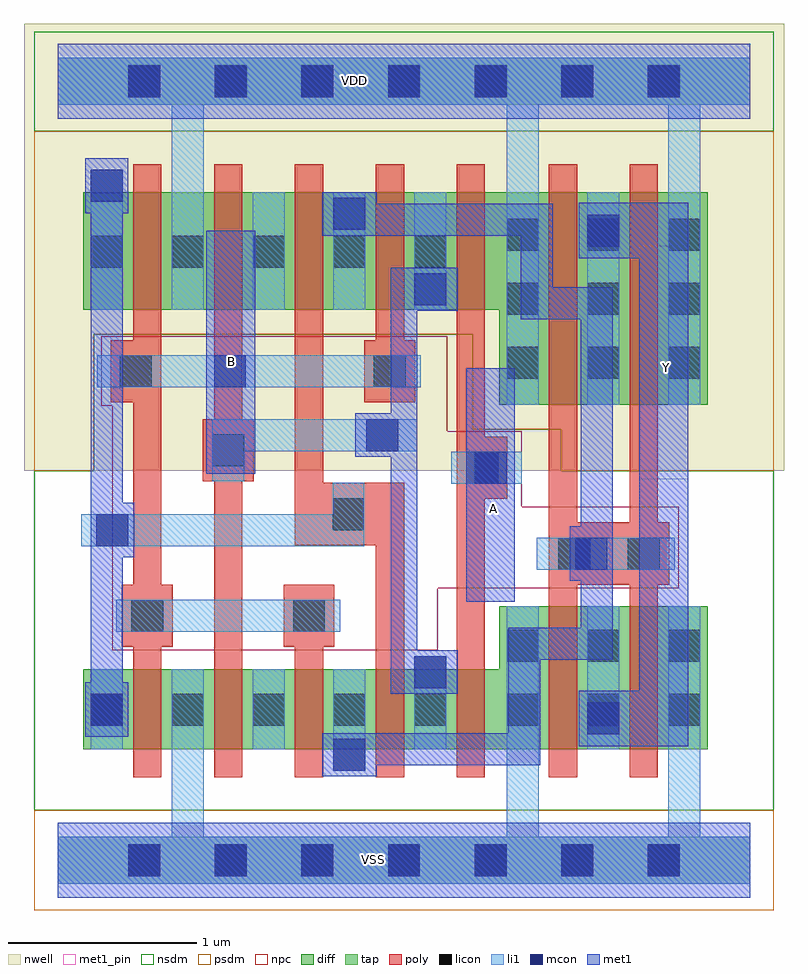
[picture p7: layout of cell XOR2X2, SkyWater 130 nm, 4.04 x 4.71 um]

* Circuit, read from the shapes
.subckt XOR2X2 A B VDD VSS Y
XM1 VSS B n1 VSS sky130_fd_pr__nfet_01v8 w=0.425 l=0.15
XM2 n2 n3 VSS VSS sky130_fd_pr__nfet_01v8 w=0.425 l=0.15
XM3 n4 B n2 VSS sky130_fd_pr__nfet_01v8 w=0.425 l=0.15
XM4 n3 n1 n4 VSS sky130_fd_pr__nfet_01v8 w=0.425 l=0.15
XM5 VSS A n3 VSS sky130_fd_pr__nfet_01v8 w=0.425 l=0.15
XM6 Y n4 VSS VSS sky130_fd_pr__nfet_01v8 w=0.76 l=0.15 m=2
XM7 VDD B n1 VDD sky130_fd_pr__pfet_01v8 w=0.625 l=0.15
XM8 n5 n3 VDD VDD sky130_fd_pr__pfet_01v8 w=0.625 l=0.15
XM9 n4 n1 n5 VDD sky130_fd_pr__pfet_01v8 w=0.625 l=0.15
XM10 n3 B n4 VDD sky130_fd_pr__pfet_01v8 w=0.625 l=0.15
XM11 VDD A n3 VDD sky130_fd_pr__pfet_01v8 w=0.625 l=0.15
XM12 Y n4 VDD VDD sky130_fd_pr__pfet_01v8 w=1.13 l=0.15 m=2
.ends

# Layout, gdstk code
from math import pi, radians
import gdstk
lib = gdstk.Library(unit=1e-6, precision=1e-09)
def R(c, l, rs):  # rectangles x0, y0, x1, y1
    for r in rs: c.add(gdstk.rectangle(r[:2], r[2:], *l))
def A(c, l, x, y, w, h, nx, ny, dx, dy):  # array of equal rectangles
    R(c, l, [(x+i*dx, y+j*dy, x+i*dx+w, y+j*dy+h) for i in range(nx) for j in range(ny)])
def P(c, l, *ps):  # polygons
    for p in ps: c.add(gdstk.Polygon(p, *l))
nwell = (64, 20)
diff = (65, 20)
tap = (65, 44)
poly = (66, 20)
licon = (66, 44)
li1 = (67, 20)
mcon = (67, 44)
met1_pin = (68, 16)
met1 = (68, 20)
nsdm = (93, 44)
psdm = (94, 20)
npc = (95, 20)

l1m1_c_cdns_750710154091 = lib.new_cell('L1M1_C_CDNS_7507101540917')
R(l1m1_c_cdns_750710154091, li1, [(-0.085,-0.165,0.085,0.085)])
R(l1m1_c_cdns_750710154091, mcon, [(-0.085,-0.085,0.085,0.085)])
R(l1m1_c_cdns_750710154091, met1, [(-0.145,-0.115,0.145,0.115)])

pyl1con_c_cdns_750710154 = lib.new_cell('PYL1CON_C_CDNS_750710154092')
R(pyl1con_c_cdns_750710154, poly, [(-0.135,-0.165,0.135,0.165)])
R(pyl1con_c_cdns_750710154, licon, [(-0.085,-0.085,0.085,0.085)])
R(pyl1con_c_cdns_750710154, npc, [(-0.185,-0.185,0.185,0.185)])

l1m1_c_cdns_750710154090 = lib.new_cell('L1M1_C_CDNS_750710154090')
R(l1m1_c_cdns_750710154090, li1, [(-0.165,-0.085,0.165,0.085)])
R(l1m1_c_cdns_750710154090, mcon, [(-0.085,-0.085,0.085,0.085)])
R(l1m1_c_cdns_750710154090, met1, [(-0.115,-0.145,0.115,0.145)])

c_l1m1_c_cdns_750710154091 = lib.new_cell('L1M1_C_CDNS_750710154091')
R(c_l1m1_c_cdns_750710154091, li1, [(-0.085,-0.165,0.085,0.165)])
R(c_l1m1_c_cdns_750710154091, mcon, [(-0.085,-0.085,0.085,0.085)])
R(c_l1m1_c_cdns_750710154091, met1, [(-0.115,-0.145,0.115,0.145)])

c_l1m1_c_cdns_750710154091_ = lib.new_cell('L1M1_C_CDNS_7507101540915')
R(c_l1m1_c_cdns_750710154091_, li1, [(-0.085,-0.085,0.085,0.085)])
R(c_l1m1_c_cdns_750710154091_, mcon, [(-0.085,-0.085,0.085,0.085)])
R(c_l1m1_c_cdns_750710154091_, met1, [(-0.145,-0.115,0.145,0.115)])

licondiff_c_cdns_7507101 = lib.new_cell('LICONDIFF_C_CDNS_7507101540911')
R(licondiff_c_cdns_7507101, diff, [(-0.125,-0.145,0.125,0.145)])
R(licondiff_c_cdns_7507101, licon, [(-0.085,-0.085,0.085,0.085), (-0.085,-0.085,0.085,0.085)])

c_l1m1_c_cdns_750710154091__ = lib.new_cell('L1M1_C_CDNS_7507101540910')
R(c_l1m1_c_cdns_750710154091__, li1, [(-0.085,-0.165,0.085,0.085)])
R(c_l1m1_c_cdns_750710154091__, mcon, [(-0.085,-0.085,0.085,0.085)])
R(c_l1m1_c_cdns_750710154091__, met1, [(-0.115,-0.145,0.115,0.145)])

xor2x2 = lib.new_cell('XOR2X2')
A(xor2x2, nwell, 0.595, 2.745, 0.79, 0.985, 3, 1, 0.43, 0)
R(xor2x2, nwell, [(-0.18,2.07,3.86,4.305), (2.165,2.24,3.635,3.73), (-0.045,2.745,0.955,3.73), (1.885,2.745,2.525,3.73), (-0.18,3.875,3.86,4.445)])
A(xor2x2, diff, 0.4, 0.59, 0.15, 0.425, 5, 1, 0.43, 0)
A(xor2x2, diff, 0.55, 0.59, 0.225, 0.425, 4, 1, 0.43, 0)
A(xor2x2, diff, 0.775, 0.59, 0.055, 0.425, 4, 1, 0.43, 0)
A(xor2x2, diff, 0.4, 2.925, 0.15, 0.625, 5, 1, 0.43, 0)
A(xor2x2, diff, 0.55, 2.925, 0.225, 0.625, 4, 1, 0.43, 0)
A(xor2x2, diff, 0.775, 2.925, 0.055, 0.625, 4, 1, 0.43, 0)
R(xor2x2, diff, [(0.135,0.59,0.4,1.015), (2.27,0.59,2.345,1.015), (2.345,0.59,2.61,1.35), (2.61,0.59,2.76,1.35), (2.76,0.59,3.04,1.35), (3.04,0.59,3.19,1.35), (3.19,0.59,3.455,1.35), (2.345,2.42,2.61,3.55), (2.61,2.42,2.76,3.55), (2.76,2.42,3.04,3.55), (3.04,2.42,3.19,3.55), (3.19,2.42,3.455,3.55), (0.135,2.925,0.4,3.55), (2.27,2.925,2.345,3.55)])
A(xor2x2, poly, 0.4, 0.44, 0.15, 0.055, 5, 2, 0.43, 0.67)
A(xor2x2, poly, 0.4, 0.495, 0.15, 0.095, 5, 2, 0.43, 0.52)
A(xor2x2, poly, 0.4, 0.59, 0.15, 0.425, 5, 1, 0.43, 0)
A(xor2x2, poly, 0.4, 2.775, 0.15, 0.055, 5, 2, 0.43, 0.87)
A(xor2x2, poly, 0.4, 2.83, 0.15, 0.095, 5, 2, 0.43, 0.72)
A(xor2x2, poly, 0.4, 2.925, 0.15, 0.625, 5, 1, 0.43, 0)
R(xor2x2, poly, [(2.61,0.44,2.76,0.495), (3.04,0.44,3.19,0.495), (2.61,0.495,2.76,0.59), (3.04,0.495,3.19,0.59), (2.61,0.59,2.76,1.35), (3.04,0.59,3.19,1.35), (2.61,1.35,2.76,1.445), (3.04,1.35,3.19,1.445), (2.61,1.445,2.76,1.5), (3.04,1.445,3.19,1.5), (2.61,2.27,2.76,2.325), (3.04,2.27,3.19,2.325), (2.61,2.325,2.76,2.42), (3.04,2.325,3.19,2.42), (2.61,2.42,2.76,3.55), (3.04,2.42,3.19,3.55), (2.61,3.55,2.76,3.645), (3.04,3.55,3.19,3.645), (2.61,3.645,2.76,3.7), (3.04,3.645,3.19,3.7)])
A(xor2x2, licon, 0.375, -0.085, 0.17, 0.17, 7, 2, 0.46, 4.14)
A(xor2x2, licon, 2.385, 0.715, 0.17, 0.17, 3, 2, 0.43, 0.34)
A(xor2x2, licon, 2.385, 2.56, 0.17, 0.17, 3, 3, 0.43, 0.34)
R(xor2x2, licon, [(0.175,0.715,0.345,0.885), (0.605,0.715,0.775,0.885), (1.465,0.715,1.635,0.885), (1.895,0.715,2.065,0.885), (0.175,3.15,0.345,3.32), (0.605,3.15,0.775,3.32), (1.465,3.15,1.635,3.32), (1.895,3.15,2.065,3.32)])
A(xor2x2, li1, 2.385, 0.59, 0.17, 0.76, 3, 1, 0.43, 0)
A(xor2x2, li1, 2.385, 2.42, 0.17, 1.13, 3, 1, 0.43, 0)
R(xor2x2, li1, [(0.175,0.59,0.345,1.015), (0.605,0.59,0.775,1.015), (1.465,0.59,1.635,1.015), (1.895,0.59,2.065,1.015), (0.175,2.925,0.345,3.55), (0.605,2.925,0.775,3.55), (1.465,2.925,1.635,3.55), (1.895,2.925,2.065,3.55)])
A(xor2x2, mcon, 0.375, -0.085, 0.17, 0.17, 7, 2, 0.46, 4.14)
R(xor2x2, met1_pin, [(2.17,1.375,2.43,2.615), (3.09,2.025,3.35,3.265), (0.79,2.055,1.05,3.345)])
R(xor2x2, met1, [(2.77,0.605,3.35,0.9), (2.77,3.2,3.35,3.495), (2.795,3.395,2.81,3.41)])
A(xor2x2, nsdm, 0.765, 0.46, 0.45, 0.685, 3, 1, 0.43, 0)
R(xor2x2, nsdm, [(-0.005,0.46,0.785,1.145), (2.055,0.46,2.225,1.145), (2.205,0.46,3.595,1.48), (-0.125,3.875,3.805,4.405), (-0.125,3.93,3.805,4.35)])
P(xor2x2, nsdm, [(3.805,2.07),(2.675,2.07),(2.675,2.29),(2.205,2.29),(2.205,2.795),(0.19,2.795),(0.19,2.07),(-0.125,2.07),(-0.125,0.265),(3.805,0.265)])
A(xor2x2, psdm, 0.765, 2.795, 0.45, 0.885, 3, 1, 0.43, 0)
R(xor2x2, psdm, [(-0.125,-0.265,3.805,0.265), (-0.125,-0.21,3.805,0.21), (2.205,2.29,3.595,3.68), (-0.005,2.795,0.785,3.68), (2.055,2.795,2.225,3.68)])
P(xor2x2, psdm, [(3.805,3.875),(-0.125,3.875),(-0.125,2.07),(0.19,2.07),(0.19,2.795),(2.205,2.795),(2.205,2.29),(2.675,2.29),(2.675,2.07),(3.805,2.07)])
P(xor2x2, npc, [(3.3,1.88),(2.465,1.88),(2.465,2.28),(2.07,2.28),(2.07,2.785),(0.29,2.785),(0.29,1.115),(2.02,1.115),(2.02,1.445),(3.3,1.445)])
xor2x2.add(gdstk.FlexPath([(2.685,1.63),(3.115,1.63)], 0.33, ends="flush", simple_path=True, layer=66, datatype=20))  # poly
xor2x2.add(gdstk.FlexPath([(3.115,2.27),(3.115,1.44)], 0.15, ends="flush", simple_path=True, layer=66, datatype=20))  # poly
xor2x2.add(gdstk.FlexPath([(2.685,2.27),(2.685,1.44)], 0.15, ends="flush", simple_path=True, layer=66, datatype=20))  # poly
xor2x2.add(gdstk.FlexPath([(0.905,2.775),(0.905,1.165)], 0.15, ends="flush", simple_path=True, layer=66, datatype=20))  # poly
xor2x2.add(gdstk.FlexPath([(1.765,2.775),(1.765,2.6)], 0.15, ends="flush", simple_path=True, layer=66, datatype=20))  # poly
xor2x2.add(gdstk.FlexPath([(2.195,2.775),(2.195,1.135)], 0.15, ends="flush", simple_path=True, layer=66, datatype=20))  # poly
xor2x2.add(gdstk.FlexPath([(1.335,2.775),(1.335,2.6)], 0.15, ends="flush", simple_path=True, layer=66, datatype=20))  # poly
xor2x2.add(gdstk.FlexPath([(1.765,1.165),(1.765,1.34)], 0.15, ends="flush", simple_path=True, layer=66, datatype=20))  # poly
xor2x2.add(gdstk.FlexPath([(0.475,2.775),(0.475,1.165)], 0.15, ends="flush", simple_path=True, layer=66, datatype=20))  # poly
xor2x2.add(gdstk.FlexPath([(1.395,1.84),(1.69,1.84)], 0.33, ends="flush", simple_path=True, layer=66, datatype=20))  # poly
xor2x2.add(gdstk.FlexPath([(1.335,2.775),(1.335,1.815)], 0.15, ends=(0, 0.14), simple_path=True, layer=66, datatype=20))  # poly
xor2x2.add(gdstk.FlexPath([(1.765,1.865),(1.765,1.165)], 0.15, ends=(0.14, 0), simple_path=True, layer=66, datatype=20))  # poly
xor2x2.add(gdstk.FlexPath([(2.47,0),(3.42,0)], 0.25, ends=(0.085, 0.085), simple_path=True, layer=67, datatype=20))  # li1
xor2x2.add(gdstk.FlexPath([(3.42,0),(3.595,0)], 0.25, ends=(0.085, 0.085), simple_path=True, layer=67, datatype=20))  # li1
xor2x2.add(gdstk.FlexPath([(0.69,0),(2.47,0)], 0.25, ends=(0.085, 0.085), simple_path=True, layer=67, datatype=20))  # li1
xor2x2.add(gdstk.FlexPath([(3.595,0),(3.68,0)], 0.25, ends=(0.085, 0), simple_path=True, layer=67, datatype=20))  # li1
xor2x2.add(gdstk.FlexPath([(2.47,4.14),(3.42,4.14)], 0.25, ends=(0.085, 0.085), simple_path=True, layer=67, datatype=20))  # li1
xor2x2.add(gdstk.FlexPath([(0,4.14),(0.69,4.14)], 0.25, ends=(0, 0.085), simple_path=True, layer=67, datatype=20))  # li1
xor2x2.add(gdstk.FlexPath([(3.42,4.14),(3.595,4.14)], 0.25, ends=(0.085, 0.085), simple_path=True, layer=67, datatype=20))  # li1
xor2x2.add(gdstk.FlexPath([(0.69,4.14),(2.47,4.14)], 0.25, ends=(0.085, 0.085), simple_path=True, layer=67, datatype=20))  # li1
xor2x2.add(gdstk.FlexPath([(1.12,0.59),(1.12,1.015)], 0.17, ends="flush", simple_path=True, layer=67, datatype=20))  # li1
xor2x2.add(gdstk.FlexPath([(1.12,2.925),(1.12,3.55)], 0.17, ends="flush", simple_path=True, layer=67, datatype=20))  # li1
xor2x2.add(gdstk.FlexPath([(2.545,1.63),(3.28,1.63)], 0.17, ends="flush", simple_path=True, layer=67, datatype=20))  # li1
xor2x2.add(gdstk.FlexPath([(0.905,2.015),(0.905,2.26)], 0.17, ends=(0, 0.085), simple_path=True, layer=67, datatype=20))  # li1
xor2x2.add(gdstk.FlexPath([(0.82,2.26),(0.905,2.26)], 0.17, ends=(0, 0.085), simple_path=True, layer=67, datatype=20))  # li1
xor2x2.add(gdstk.FlexPath([(2.465,2.085),(2.09,2.085)], 0.17, ends="flush", simple_path=True, layer=67, datatype=20))  # li1
xor2x2.add(gdstk.FlexPath([(0.31,1.3),(1.5,1.3)], 0.17, ends="flush", simple_path=True, layer=67, datatype=20))  # li1
xor2x2.add(gdstk.FlexPath([(0.21,2.6),(1.93,2.6)], 0.17, ends="flush", simple_path=True, layer=67, datatype=20))  # li1
xor2x2.add(gdstk.FlexPath([(1.545,1.84),(1.545,2.005)], 0.17, ends="flush", simple_path=True, layer=67, datatype=20))  # li1
xor2x2.add(gdstk.FlexPath([(0.25,1.755),(1.63,1.755)], 0.17, ends="flush", simple_path=True, layer=67, datatype=20))  # li1
xor2x2.add(gdstk.FlexPath([(0.905,2.26),(1.91,2.26)], 0.17, ends=(0.085, 0), simple_path=True, layer=67, datatype=20))  # li1
xor2x2.add(gdstk.FlexPath([(0.69,0.59),(0.69,0)], 0.17, ends=(0, 0.085), simple_path=True, layer=67, datatype=20))  # li1
xor2x2.add(gdstk.FlexPath([(0,0),(0.69,0)], 0.25, ends=(0, 0.085), simple_path=True, layer=67, datatype=20))  # li1
xor2x2.add(gdstk.FlexPath([(2.47,3.55),(2.47,4.14)], 0.17, ends=(0, 0.125), simple_path=True, layer=67, datatype=20))  # li1
xor2x2.add(gdstk.FlexPath([(3.33,0),(3.33,0.59)], 0.17, ends=(0.085, 0), simple_path=True, layer=67, datatype=20))  # li1
xor2x2.add(gdstk.FlexPath([(0.69,3.55),(0.69,4.14)], 0.17, ends=(0, 0.085), simple_path=True, layer=67, datatype=20))  # li1
xor2x2.add(gdstk.FlexPath([(3.595,4.14),(3.68,4.14)], 0.25, ends=(0.085, 0), simple_path=True, layer=67, datatype=20))  # li1
xor2x2.add(gdstk.FlexPath([(0.69,0),(3.33,0)], 0.17, ends="extended", simple_path=True, layer=67, datatype=20))  # li1
xor2x2.add(gdstk.FlexPath([(2.47,0.59),(2.47,0)], 0.17, ends="flush", simple_path=True, layer=67, datatype=20))  # li1
xor2x2.add(gdstk.FlexPath([(3.33,4.14),(0.69,4.14)], 0.17, ends="extended", simple_path=True, layer=67, datatype=20))  # li1
xor2x2.add(gdstk.FlexPath([(3.33,3.55),(3.33,4.14)], 0.17, ends=(0, 0.085), simple_path=True, layer=67, datatype=20))  # li1
xor2x2.add(gdstk.FlexPath([(0,0),(3.68,0)], 0.4, ends="flush", simple_path=True, layer=68, datatype=20))  # met1
xor2x2.add(gdstk.FlexPath([(0,4.14),(3.68,4.14)], 0.4, ends="flush", simple_path=True, layer=68, datatype=20))  # met1
xor2x2.add(gdstk.FlexPath([(2.9,0.75),(2.9,0.755)], 0.26, ends=(0.13, 0.145), simple_path=True, layer=68, datatype=20))  # met1
xor2x2.add(gdstk.FlexPath([(3.22,0.75),(2.9,0.75)], 0.26, ends="extended", simple_path=True, layer=68, datatype=20))  # met1
xor2x2.add(gdstk.FlexPath([(3.22,2.035),(3.22,0.75)], 0.26, ends=(0, 0.13), simple_path=True, layer=68, datatype=20))  # met1
xor2x2.add(gdstk.FlexPath([(2.9,3.365),(2.9,3.345)], 0.26, ends=(0.13, 0.145), simple_path=True, layer=68, datatype=20))  # met1
xor2x2.add(gdstk.FlexPath([(3.22,3.365),(2.9,3.365)], 0.26, ends="extended", simple_path=True, layer=68, datatype=20))  # met1
xor2x2.add(gdstk.FlexPath([(3.22,3.265),(3.22,3.365)], 0.26, ends=(0, 0.13), simple_path=True, layer=68, datatype=20))  # met1
xor2x2.add(gdstk.FlexPath([(2.48,1.15),(2.48,0.59)], 0.17, ends="extended", simple_path=True, layer=68, datatype=20))  # met1
xor2x2.add(gdstk.FlexPath([(3.22,2.025),(3.22,3.265)], 0.26, ends="flush", simple_path=True, layer=68, datatype=20))  # met1
xor2x2.add(gdstk.FlexPath([(2.865,2.96),(2.865,1.15)], 0.17, ends="extended", simple_path=True, layer=68, datatype=20))  # met1
xor2x2.add(gdstk.FlexPath([(2.545,2.96),(2.865,2.96)], 0.17, ends="extended", simple_path=True, layer=68, datatype=20))  # met1
xor2x2.add(gdstk.FlexPath([(1.405,3.405),(2.44,3.405)], 0.17, ends=(0, 0.13), simple_path=True, layer=68, datatype=20))  # met1
xor2x2.add(gdstk.FlexPath([(2.48,0.59),(1.405,0.59)], 0.17, ends=(0.085, 0), simple_path=True, layer=68, datatype=20))  # met1
xor2x2.add(gdstk.FlexPath([(2.545,3.405),(2.545,2.96)], 0.17, ends="extended", simple_path=True, layer=68, datatype=20))  # met1
xor2x2.add(gdstk.FlexPath([(2.44,3.405),(2.545,3.405)], 0.17, ends=(0, 0.085), simple_path=True, layer=68, datatype=20))  # met1
xor2x2.add(gdstk.FlexPath([(2.125,3.065),(1.845,3.065)], 0.17, ends=(0, 0.07), simple_path=True, layer=68, datatype=20))  # met1
xor2x2.add(gdstk.FlexPath([(1.84,3.065),(1.84,0.97)], 0.14, ends=(0.085, 0.085), simple_path=True, layer=68, datatype=20))  # met1
xor2x2.add(gdstk.FlexPath([(2.3,1.375),(2.3,2.615)], 0.26, ends="flush", simple_path=True, layer=68, datatype=20))  # met1
xor2x2.add(gdstk.FlexPath([(0.92,2.055),(0.92,3.345)], 0.26, ends="flush", simple_path=True, layer=68, datatype=20))  # met1
xor2x2.add(gdstk.FlexPath([(0.26,0.655),(0.26,3.73)], 0.17, ends="flush", simple_path=True, layer=68, datatype=20))  # met1
xor2x2.add(gdstk.FlexPath([(2.865,1.15),(2.48,1.15)], 0.17, ends="extended", simple_path=True, layer=68, datatype=20))  # met1
xor2x2.add(gdstk.FlexPath([(0,4.14),(3.68,4.14)], 0.4, ends="flush", simple_path=True, layer=68, datatype=16))  # met1_pin
xor2x2.add(gdstk.FlexPath([(0,0),(3.68,0)], 0.4, ends="flush", simple_path=True, layer=68, datatype=16))  # met1_pin
xor2x2.add(gdstk.FlexPath([(0,4.14),(3.68,4.14)], 0.25, ends="flush", simple_path=True, layer=65, datatype=44))  # tap
xor2x2.add(gdstk.FlexPath([(0,0),(3.68,0)], 0.25, ends="flush", simple_path=True, layer=65, datatype=44))  # tap
xor2x2.add(gdstk.Reference(l1m1_c_cdns_750710154091, (2.835,1.63), rotation=pi/2))
xor2x2.add(gdstk.Reference(pyl1con_c_cdns_750710154, (3.115,1.63), rotation=pi))
xor2x2.add(gdstk.Reference(pyl1con_c_cdns_750710154, (2.745,1.63), rotation=pi))
xor2x2.add(gdstk.Reference(pyl1con_c_cdns_750710154, (0.905,2.18), rotation=pi))
xor2x2.add(gdstk.Reference(pyl1con_c_cdns_750710154, (2.255,2.085), rotation=pi))
xor2x2.add(gdstk.Reference(pyl1con_c_cdns_750710154, (1.335,1.3), rotation=pi))
xor2x2.add(gdstk.Reference(pyl1con_c_cdns_750710154, (0.475,1.3), rotation=pi))
xor2x2.add(gdstk.Reference(pyl1con_c_cdns_750710154, (1.765,2.6), rotation=pi))
xor2x2.add(gdstk.Reference(pyl1con_c_cdns_750710154, (0.415,2.6), rotation=pi))
xor2x2.add(gdstk.Reference(pyl1con_c_cdns_750710154, (1.545,1.84), x_reflection=True))
xor2x2.add(gdstk.Reference(l1m1_c_cdns_750710154090, (2.3,2.085), x_reflection=True))
xor2x2.add(gdstk.Reference(l1m1_c_cdns_750710154090, (0.915,2.6), x_reflection=True))
xor2x2.add(gdstk.Reference(l1m1_c_cdns_750710154090, (0.29,1.755), rotation=pi, x_reflection=True))
xor2x2.add(gdstk.Reference(c_l1m1_c_cdns_750710154091, (2.9,0.755)))
xor2x2.add(gdstk.Reference(c_l1m1_c_cdns_750710154091, (2.9,3.345)))
xor2x2.add(gdstk.Reference(c_l1m1_c_cdns_750710154091, (0.26,0.8)))
xor2x2.add(gdstk.Reference(c_l1m1_c_cdns_750710154091_, (1.55,3.435), rotation=pi))
xor2x2.add(gdstk.Reference(c_l1m1_c_cdns_750710154091_, (1.55,0.56), rotation=pi))
xor2x2.add(gdstk.Reference(c_l1m1_c_cdns_750710154091_, (1.98,3.035), x_reflection=True))
xor2x2.add(gdstk.Reference(c_l1m1_c_cdns_750710154091_, (1.98,1), x_reflection=True))
xor2x2.add(gdstk.Reference(licondiff_c_cdns_7507101, (1.12,0.8)))
xor2x2.add(gdstk.Reference(licondiff_c_cdns_7507101, (1.12,3.235)))
xor2x2.add(gdstk.Reference(c_l1m1_c_cdns_750710154091__, (0.26,3.585)))
xor2x2.add(gdstk.Reference(c_l1m1_c_cdns_750710154091__, (1.725,2.26), rotation=pi/2, x_reflection=True))
xor2x2.add(gdstk.Label('VDD', (1.575,4.145), layer=68, texttype=16))
xor2x2.add(gdstk.Label('Y', (3.235,2.62), layer=68, texttype=16))
xor2x2.add(gdstk.Label('B', (0.925,2.65), layer=68, texttype=16))
xor2x2.add(gdstk.Label('VSS', (1.68,0.005), layer=68, texttype=16))
xor2x2.add(gdstk.Label('A', (2.315,1.87), layer=68, texttype=16))

lib.write_gds('XOR2X2.gds')
